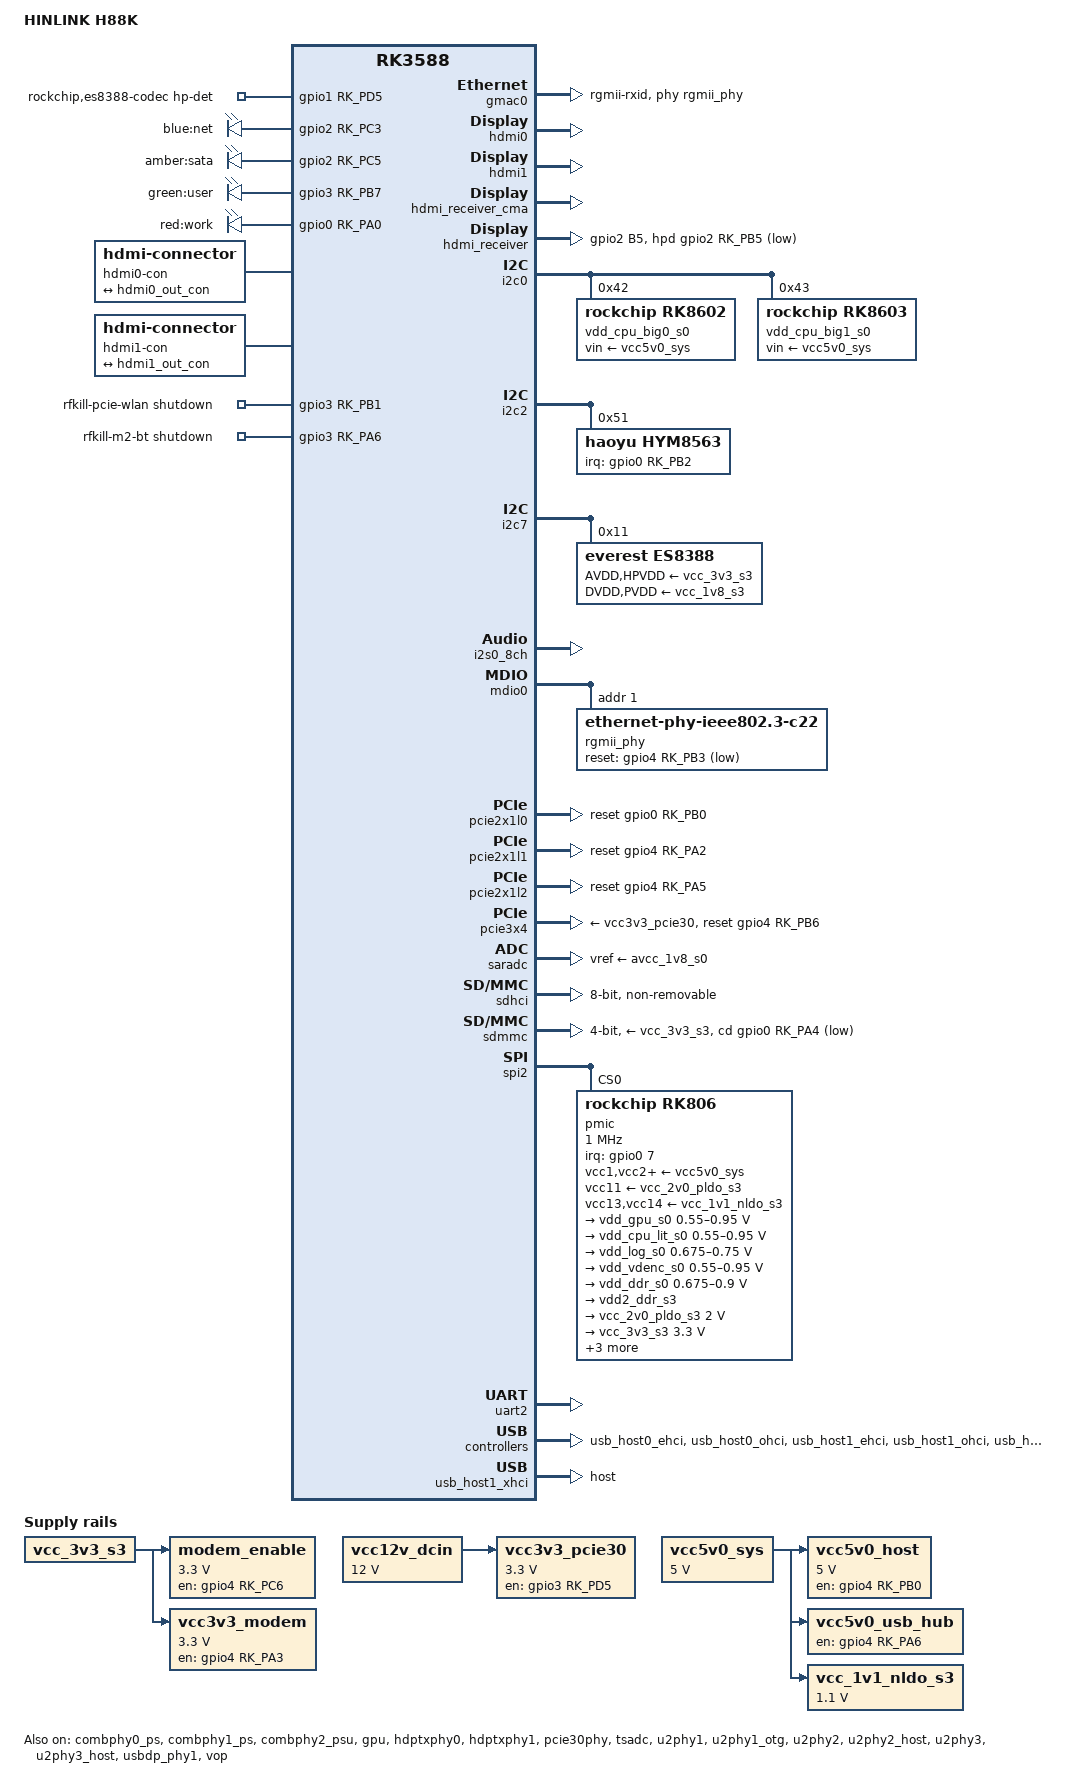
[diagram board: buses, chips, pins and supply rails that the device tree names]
// SPDX-License-Identifier: (GPL-2.0+ OR MIT)

/dts-v1/;

#include <dt-bindings/gpio/gpio.h>
#include <dt-bindings/leds/common.h>
#include <dt-bindings/soc/rockchip,vop2.h>
#include "rk3588.dtsi"

/ {
	model = "HINLINK H88K";
	compatible = "hinlink,h88k", "rockchip,rk3588";

	aliases {
		ethernet0 = &gmac0;
		mmc0 = &sdhci;
		mmc1 = &sdmmc;
		mmc2 = &sdio;
	};

	analog-sound {
		compatible = "simple-audio-card";
		label = "rockchip,es8388-codec";
		pinctrl-names = "default";
		pinctrl-0 = <&hp_detect>;
		simple-audio-card,name = "Analog";
		simple-audio-card,format = "i2s";
		simple-audio-card,mclk-fs = <256>;
		simple-audio-card,hp-det-gpios = <&gpio1 RK_PD5 GPIO_ACTIVE_HIGH>;
		simple-audio-card,bitclock-master = <&daicpu>;
		simple-audio-card,frame-master = <&daicpu>;

		simple-audio-card,widgets =
			"Microphone", "Onboard Microphone",
			"Microphone", "Microphone Jack",
			"Speaker", "Speaker",
			"Headphone", "Headphones";

		simple-audio-card,routing =
			"Headphones", "LOUT1",
			"Headphones", "ROUT1",
			"Speaker", "LOUT2",
			"Speaker", "ROUT2",

			/* single ended signal to LINPUT1 */
			"LINPUT1", "Microphone Jack",
			"RINPUT1", "Microphone Jack",
			/* differential signal */
			"LINPUT2", "Onboard Microphone",
			"RINPUT2", "Onboard Microphone";

		daicpu: simple-audio-card,cpu {
			sound-dai = <&i2s0_8ch>;
			system-clock-frequency = <12288000>;
		};

		daicodec: simple-audio-card,codec {
			sound-dai = <&es8388>;
			system-clock-frequency = <12288000>;
		};
	};

	chosen {
		stdout-path = "serial2:1500000n8";
	};

	leds {
		compatible = "gpio-leds";
		pinctrl-names = "default";
		pinctrl-0 = <&led_net_en>, <&led_sata_en>,
			    <&led_user_en>, <&led_work_en>;

		net {
			label = "blue:net";
			gpios = <&gpio2 RK_PC3 GPIO_ACTIVE_HIGH>;
		};

		sata {
			label = "amber:sata";
			gpios = <&gpio2 RK_PC5 GPIO_ACTIVE_HIGH>;
		};

		user {
			label = "green:user";
			gpios = <&gpio3 RK_PB7 GPIO_ACTIVE_HIGH>;
		};

		work {
			label = "red:work";
			gpios = <&gpio0 RK_PA0 GPIO_ACTIVE_HIGH>;
			linux,default-trigger = "heartbeat";
		};
	};

	hdmi0-con {
		compatible = "hdmi-connector";
		type = "a";

		port {
			hdmi0_con_in: endpoint {
				remote-endpoint = <&hdmi0_out_con>;
			};
		};
	};

	hdmi1-con {
		compatible = "hdmi-connector";
		type = "a";

		port {
			hdmi1_con_in: endpoint {
				remote-endpoint = <&hdmi1_out_con>;
			};
		};
	};

	rfkilli-wifi {
		compatible = "rfkill-gpio";
		label = "rfkill-pcie-wlan";
		radio-type = "wlan";
		shutdown-gpios = <&gpio3 RK_PB1 GPIO_ACTIVE_HIGH>;
	};

	rfkill-bt {
		compatible = "rfkill-gpio";
		label = "rfkill-m2-bt";
		radio-type = "bluetooth";
		shutdown-gpios = <&gpio3 RK_PA6 GPIO_ACTIVE_HIGH>;
	};

	vcc12v_dcin: vcc12v-dcin {
		compatible = "regulator-fixed";
		regulator-always-on;
		regulator-boot-on;
		regulator-min-microvolt = <12000000>;
		regulator-max-microvolt = <12000000>;
		regulator-name = "vcc12v_dcin";
	};

	vcc3v3_pcie30: vcc3v3-pcie30-regulator {
		compatible = "regulator-fixed";
		enable-active-high;
		gpios = <&gpio3 RK_PD5 GPIO_ACTIVE_HIGH>;
		regulator-name = "vcc3v3_pcie30";
		regulator-min-microvolt = <3300000>;
		regulator-max-microvolt = <3300000>;
		startup-delay-us = <5000>;
		vin-supply = <&vcc12v_dcin>;
	};

	/* it's modem reset pin */
	modem_enable: modem-enable {
		compatible = "regulator-fixed";
		enable-active-high;
		regulator-always-on;
		regulator-boot-on;
		gpios = <&gpio4 RK_PC6 GPIO_ACTIVE_HIGH>;
		regulator-min-microvolt = <3300000>;
		regulator-max-microvolt = <3300000>;
		regulator-name = "modem-enable";
		vin-supply = <&vcc_3v3_s3>;
		startup-delay-us = <500000>;
		pinctrl-names = "default";
		pintctrl-0 = <&modem_reset_en>;
	};

	vcc3v3_modem: vcc3v3-modem {
		compatible = "regulator-fixed";
		enable-active-high;
		regulator-always-on;
		regulator-boot-on;
		gpios = <&gpio4 RK_PA3 GPIO_ACTIVE_HIGH>;
		regulator-min-microvolt = <3300000>;
		regulator-max-microvolt = <3300000>;
		regulator-name = "vcc3v3_modem";
		pinctrl-names = "default";
		pintctrl-0 = <&modem_power_en>;
		vin-supply = <&vcc_3v3_s3>;
	};

	vcc5v0_host: vcc5v0-host-regulator {
		compatible = "regulator-fixed";
		regulator-name = "vcc5v0_host";
		regulator-boot-on;
		regulator-always-on;
		regulator-min-microvolt = <5000000>;
		regulator-max-microvolt = <5000000>;
		enable-active-high;
		gpio = <&gpio4 RK_PB0 GPIO_ACTIVE_HIGH>;
		pinctrl-names = "default";
		pinctrl-0 = <&vcc5v0_host_en>;
		vin-supply = <&vcc5v0_sys>;
	};

	vcc5v0_usb_hub: vcc5v0-usb-hub {
		compatible = "regulator-fixed";
		enable-active-high;
		gpio = <&gpio4 RK_PA6 GPIO_ACTIVE_HIGH>;
		pinctrl-names = "default";
		pinctrl-0 = <&vcc5v0_usb_hub_en>;
		regulator-name = "vcc5v0_usb_hub";
		regulator-always-on;
		vin-supply = <&vcc5v0_sys>;
	};

	vcc5v0_sys: vcc5v0-sys-regulator {
		compatible = "regulator-fixed";
		regulator-name = "vcc5v0_sys";
		regulator-always-on;
		regulator-boot-on;
		regulator-min-microvolt = <5000000>;
		regulator-max-microvolt = <5000000>;
	};

	vcc_1v1_nldo_s3: vcc-1v1-nldo-s3-regulator {
		compatible = "regulator-fixed";
		regulator-name = "vcc_1v1_nldo_s3";
		regulator-always-on;
		regulator-boot-on;
		regulator-min-microvolt = <1100000>;
		regulator-max-microvolt = <1100000>;
		vin-supply = <&vcc5v0_sys>;
	};
};

&combphy0_ps {
	status = "okay";
};

&combphy1_ps {
	status = "okay";
};

&combphy2_psu {
	status = "okay";
};

&cpu_b0 {
	cpu-supply = <&vdd_cpu_big0_s0>;
};

&cpu_b1 {
	cpu-supply = <&vdd_cpu_big0_s0>;
};

&cpu_b2 {
	cpu-supply = <&vdd_cpu_big1_s0>;
};

&cpu_b3 {
	cpu-supply = <&vdd_cpu_big1_s0>;
};

&cpu_l0 {
	cpu-supply = <&vdd_cpu_lit_s0>;
};

&cpu_l1 {
	cpu-supply = <&vdd_cpu_lit_s0>;
};

&cpu_l2 {
	cpu-supply = <&vdd_cpu_lit_s0>;
};

&cpu_l3 {
	cpu-supply = <&vdd_cpu_lit_s0>;
};

&gmac0 {
	clock_in_out = "output";
	phy-handle = <&rgmii_phy>;
	phy-mode = "rgmii-rxid";
	pinctrl-0 = <&gmac0_miim
		     &gmac0_tx_bus2
		     &gmac0_rx_bus2
		     &gmac0_rgmii_clk
		     &gmac0_rgmii_bus>;
	pinctrl-names = "default";
	rx_delay = <0x00>;
	tx_delay = <0x43>;
	status = "okay";
};

&gpu {
	mali-supply = <&vdd_gpu_s0>;
	status = "okay";
};

&hdmi0 {
	status = "okay";
};


&hdptxphy0 {
	status = "okay";
};

&hdmi0_in {
	hdmi0_in_vp0: endpoint {
		remote-endpoint = <&vp0_out_hdmi0>;
	};
};

&hdmi0_out {
	hdmi0_out_con: endpoint {
		remote-endpoint = <&hdmi0_con_in>;
	};
};

&hdmi1 {
	status = "okay";
};

&hdmi1_in {
	hdmi1_in_vp1: endpoint {
		remote-endpoint = <&vp1_out_hdmi1>;
	};
};

&hdmi1_out {
	hdmi1_out_con: endpoint {
		remote-endpoint = <&hdmi1_con_in>;
	};
};

&hdptxphy1 {
	status = "okay";
};

&hdmi_receiver_cma {
	status = "okay";
};

&hdmi_receiver {
	status = "okay";
	hpd-gpios = <&gpio2 RK_PB5 GPIO_ACTIVE_LOW>;
	pinctrl-0 = <&hdmim1_rx_cec &hdmim1_rx_hpdin &hdmim1_rx_scl &hdmim1_rx_sda &hdmirx_hpd>;
	pinctrl-names = "default";
	memory-region = <&hdmi_receiver_cma>;
};

&i2c0 {
	pinctrl-names = "default";
	pinctrl-0 = <&i2c0m2_xfer>;
	status = "okay";

	vdd_cpu_big0_s0: regulator@42 {
		compatible = "rockchip,rk8602";
		reg = <0x42>;
		fcs,suspend-voltage-selector = <1>;
		regulator-name = "vdd_cpu_big0_s0";
		regulator-always-on;
		regulator-boot-on;
		regulator-min-microvolt = <550000>;
		regulator-max-microvolt = <1050000>;
		regulator-ramp-delay = <2300>;
		vin-supply = <&vcc5v0_sys>;

		regulator-state-mem {
			regulator-off-in-suspend;
		};
	};

	vdd_cpu_big1_s0: regulator@43 {
		compatible = "rockchip,rk8603", "rockchip,rk8602";
		reg = <0x43>;
		fcs,suspend-voltage-selector = <1>;
		regulator-name = "vdd_cpu_big1_s0";
		regulator-always-on;
		regulator-boot-on;
		regulator-min-microvolt = <550000>;
		regulator-max-microvolt = <1050000>;
		regulator-ramp-delay = <2300>;
		vin-supply = <&vcc5v0_sys>;

		regulator-state-mem {
			regulator-off-in-suspend;
		};
	};
};

&i2c2 {
	status = "okay";

	hym8563: rtc@51 {
		compatible = "haoyu,hym8563";
		reg = <0x51>;
		#clock-cells = <0>;
		clock-output-names = "hym8563";
		pinctrl-names = "default";
		pinctrl-0 = <&hym8563_int>;
		interrupt-parent = <&gpio0>;
		interrupts = <RK_PB2 IRQ_TYPE_LEVEL_LOW>;
		wakeup-source;
	};
};

&i2c7 {
	status = "okay";

	es8388: audio-codec@11 {
		compatible = "everest,es8388";
		reg = <0x11>;
		assigned-clocks = <&cru I2S0_8CH_MCLKOUT>;
		assigned-clock-rates = <12288000>;
		AVDD-supply = <&vcc_3v3_s3>;
		clocks = <&cru I2S0_8CH_MCLKOUT>;
		DVDD-supply = <&vcc_1v8_s3>;
		HPVDD-supply = <&vcc_3v3_s3>;
		PVDD-supply = <&vcc_1v8_s3>;
		#sound-dai-cells = <0>;
	};
};

&i2s0_8ch {
	pinctrl-names = "default";
	pinctrl-0 = <&i2s0_lrck
		     &i2s0_mclk
		     &i2s0_sclk
		     &i2s0_sdi0
		     &i2s0_sdo0>;
	status = "okay";
};

&mdio0 {
	rgmii_phy: ethernet-phy@1 {
		/* RTL8211F */
		compatible = "ethernet-phy-ieee802.3-c22";
		reg = <0x1>;
		pinctrl-names = "default";
		pinctrl-0 = <&rtl8211f_rst>;
		reset-assert-us = <20000>;
		reset-deassert-us = <100000>;
		reset-gpios = <&gpio4 RK_PB3 GPIO_ACTIVE_LOW>;
	};
};

&pcie2x1l0 {
	reset-gpios = <&gpio0 RK_PB0 GPIO_ACTIVE_HIGH>;
	status = "okay";
};

&pcie2x1l1 {
	reset-gpios = <&gpio4 RK_PA2 GPIO_ACTIVE_HIGH>;
	status = "okay";
};

&pcie2x1l2 {
	reset-gpios = <&gpio4 RK_PA5 GPIO_ACTIVE_HIGH>;
	status = "okay";
};

&pcie30phy {
	status = "okay";
};

&pcie3x4 {
	pinctrl-names = "default";
	reset-gpios = <&gpio4 RK_PB6 GPIO_ACTIVE_HIGH>;
	vpcie3v3-supply = <&vcc3v3_pcie30>;
	status = "okay";
};

&pinctrl {
	hdmirx {
		hdmirx_hpd: hdmirx-hpd {
			rockchip,pins = <2 RK_PB5 RK_FUNC_GPIO &pcfg_pull_none>;
		};
	};

	hym8563 {
		hym8563_int: hym8563-int {
			rockchip,pins = <0 RK_PB2 RK_FUNC_GPIO &pcfg_pull_none>;
		};
	};

	leds {
		led_net_en: led_net_en {
			rockchip,pins = <2 RK_PC3 RK_FUNC_GPIO &pcfg_pull_none>;
		};

		led_sata_en: led_sata_en {
			rockchip,pins = <2 RK_PC5 RK_FUNC_GPIO &pcfg_pull_none>;
		};

		led_user_en: led_user_en {
			rockchip,pins = <3 RK_PB7 RK_FUNC_GPIO &pcfg_pull_none>;
		};

		led_work_en: led_work_en {
			rockchip,pins = <0 RK_PA0 RK_FUNC_GPIO &pcfg_pull_none>;
		};
	};

	modem {
		modem_power_en: modem-power-en {
			rockchip,pins = <4 RK_PA3 RK_FUNC_GPIO &pcfg_pull_none>;
		};

		modem_reset_en: modem-reset-en {
			rockchip,pins = <4 RK_PC6 RK_FUNC_GPIO &pcfg_pull_none>;
		};
	};

	rtl8211f {
		rtl8211f_rst: rtl8211f-rst {
			rockchip,pins = <4 RK_PB3 RK_FUNC_GPIO &pcfg_pull_none>;
		};
	};

	sound {
		hp_detect: hp-detect {
			rockchip,pins = <1 RK_PD5 RK_FUNC_GPIO &pcfg_pull_none>;
		};
	};

	usb {
		vcc5v0_host_en: vcc5v0-host-en {
			rockchip,pins = <4 RK_PB0 RK_FUNC_GPIO &pcfg_pull_none>;
		};

		vcc5v0_usb_hub_en: vcc5v0_usb_hub_en {
			rockchip,pins = <4 RK_PA6 RK_FUNC_GPIO &pcfg_pull_none>;
		};
	};
};

&saradc {
	vref-supply = <&avcc_1v8_s0>;
	status = "okay";
};

&sdhci {
	bus-width = <8>;
	max-frequency = <200000000>;
	mmc-hs400-1_8v;
	mmc-hs400-enhanced-strobe;
	no-sdio;
	no-sd;
	non-removable;
	status = "okay";
};

&sdmmc {
	max-frequency = <150000000>;
	no-sdio;
	no-mmc;
	bus-width = <4>;
	cap-mmc-highspeed;
	cap-sd-highspeed;
	disable-wp;
	sd-uhs-sdr104;
	cd-gpios = <&gpio0 RK_PA4 GPIO_ACTIVE_LOW>;
	vmmc-supply = <&vcc_3v3_s3>;
	vqmmc-supply = <&vccio_sd_s0>;
	status = "okay";
};

&spi2 {
	status = "okay";
	assigned-clocks = <&cru CLK_SPI2>;
	assigned-clock-rates = <200000000>;
	pinctrl-names = "default";
	pinctrl-0 = <&spi2m2_cs0 &spi2m2_pins>;
	num-cs = <1>;

	pmic@0 {
		compatible = "rockchip,rk806";
		spi-max-frequency = <1000000>;
		reg = <0x0>;

		interrupt-parent = <&gpio0>;
		interrupts = <7 IRQ_TYPE_LEVEL_LOW>;

		pinctrl-names = "default";
		pinctrl-0 = <&pmic_pins>, <&rk806_dvs1_null>,
			    <&rk806_dvs2_null>, <&rk806_dvs3_null>;

		system-power-controller;

		vcc1-supply = <&vcc5v0_sys>;
		vcc2-supply = <&vcc5v0_sys>;
		vcc3-supply = <&vcc5v0_sys>;
		vcc4-supply = <&vcc5v0_sys>;
		vcc5-supply = <&vcc5v0_sys>;
		vcc6-supply = <&vcc5v0_sys>;
		vcc7-supply = <&vcc5v0_sys>;
		vcc8-supply = <&vcc5v0_sys>;
		vcc9-supply = <&vcc5v0_sys>;
		vcc10-supply = <&vcc5v0_sys>;
		vcc11-supply = <&vcc_2v0_pldo_s3>;
		vcc12-supply = <&vcc5v0_sys>;
		vcc13-supply = <&vcc_1v1_nldo_s3>;
		vcc14-supply = <&vcc_1v1_nldo_s3>;
		vcca-supply = <&vcc5v0_sys>;

		gpio-controller;
		#gpio-cells = <2>;

		rk806_dvs1_null: dvs1-null-pins {
			pins = "gpio_pwrctrl1";
			function = "pin_fun0";
		};

		rk806_dvs2_null: dvs2-null-pins {
			pins = "gpio_pwrctrl2";
			function = "pin_fun0";
		};

		rk806_dvs3_null: dvs3-null-pins {
			pins = "gpio_pwrctrl3";
			function = "pin_fun0";
		};

		regulators {
			vdd_gpu_s0: vdd_gpu_mem_s0: dcdc-reg1 {
				regulator-always-on;
				regulator-boot-on;
				regulator-min-microvolt = <550000>;
				regulator-max-microvolt = <950000>;
				regulator-ramp-delay = <12500>;
				regulator-name = "vdd_gpu_s0";
				regulator-enable-ramp-delay = <400>;

				regulator-state-mem {
					regulator-off-in-suspend;
				};
			};

			vdd_cpu_lit_s0: vdd_cpu_lit_mem_s0: dcdc-reg2 {
				regulator-always-on;
				regulator-boot-on;
				regulator-min-microvolt = <550000>;
				regulator-max-microvolt = <950000>;
				regulator-ramp-delay = <12500>;
				regulator-name = "vdd_cpu_lit_s0";

				regulator-state-mem {
					regulator-off-in-suspend;
				};
			};

			vdd_log_s0: dcdc-reg3 {
				regulator-always-on;
				regulator-boot-on;
				regulator-min-microvolt = <675000>;
				regulator-max-microvolt = <750000>;
				regulator-ramp-delay = <12500>;
				regulator-name = "vdd_log_s0";

				regulator-state-mem {
					regulator-off-in-suspend;
					regulator-suspend-microvolt = <750000>;
				};
			};

			vdd_vdenc_s0: vdd_vdenc_mem_s0: dcdc-reg4 {
				regulator-always-on;
				regulator-boot-on;
				regulator-min-microvolt = <550000>;
				regulator-max-microvolt = <950000>;
				regulator-ramp-delay = <12500>;
				regulator-name = "vdd_vdenc_s0";

				regulator-state-mem {
					regulator-off-in-suspend;
				};
			};

			vdd_ddr_s0: dcdc-reg5 {
				regulator-always-on;
				regulator-boot-on;
				regulator-min-microvolt = <675000>;
				regulator-max-microvolt = <900000>;
				regulator-ramp-delay = <12500>;
				regulator-name = "vdd_ddr_s0";

				regulator-state-mem {
					regulator-off-in-suspend;
					regulator-suspend-microvolt = <850000>;
				};
			};

			vdd2_ddr_s3: dcdc-reg6 {
				regulator-always-on;
				regulator-boot-on;
				regulator-name = "vdd2_ddr_s3";

				regulator-state-mem {
					regulator-on-in-suspend;
				};
			};

			vcc_2v0_pldo_s3: dcdc-reg7 {
				regulator-always-on;
				regulator-boot-on;
				regulator-min-microvolt = <2000000>;
				regulator-max-microvolt = <2000000>;
				regulator-ramp-delay = <12500>;
				regulator-name = "vdd_2v0_pldo_s3";

				regulator-state-mem {
					regulator-on-in-suspend;
					regulator-suspend-microvolt = <2000000>;
				};
			};

			vcc_3v3_s3: dcdc-reg8 {
				regulator-always-on;
				regulator-boot-on;
				regulator-min-microvolt = <3300000>;
				regulator-max-microvolt = <3300000>;
				regulator-name = "vcc_3v3_s3";

				regulator-state-mem {
					regulator-on-in-suspend;
					regulator-suspend-microvolt = <3300000>;
				};
			};

			vddq_ddr_s0: dcdc-reg9 {
				regulator-always-on;
				regulator-boot-on;
				regulator-name = "vddq_ddr_s0";

				regulator-state-mem {
					regulator-off-in-suspend;
				};
			};

			vcc_1v8_s3: dcdc-reg10 {
				regulator-always-on;
				regulator-boot-on;
				regulator-min-microvolt = <1800000>;
				regulator-max-microvolt = <1800000>;
				regulator-name = "vcc_1v8_s3";

				regulator-state-mem {
					regulator-on-in-suspend;
					regulator-suspend-microvolt = <1800000>;
				};
			};

			avcc_1v8_s0: pldo-reg1 {
				regulator-always-on;
				regulator-boot-on;
				regulator-min-microvolt = <1800000>;
				regulator-max-microvolt = <1800000>;
				regulator-name = "avcc_1v8_s0";

				regulator-state-mem {
					regulator-off-in-suspend;
				};
			};

			vcc_1v8_s0: pldo-reg2 {
				regulator-always-on;
				regulator-boot-on;
				regulator-min-microvolt = <1800000>;
				regulator-max-microvolt = <1800000>;
				regulator-name = "vcc_1v8_s0";

				regulator-state-mem {
					regulator-off-in-suspend;
					regulator-suspend-microvolt = <1800000>;
				};
			};

			avdd_1v2_s0: pldo-reg3 {
				regulator-always-on;
				regulator-boot-on;
				regulator-min-microvolt = <1200000>;
				regulator-max-microvolt = <1200000>;
				regulator-name = "avdd_1v2_s0";

				regulator-state-mem {
					regulator-off-in-suspend;
				};
			};

			vcc_3v3_s0: pldo-reg4 {
				regulator-always-on;
				regulator-boot-on;
				regulator-min-microvolt = <3300000>;
				regulator-max-microvolt = <3300000>;
				regulator-ramp-delay = <12500>;
				regulator-name = "vcc_3v3_s0";

				regulator-state-mem {
					regulator-off-in-suspend;
				};
			};

			vccio_sd_s0: pldo-reg5 {
				regulator-always-on;
				regulator-boot-on;
				regulator-min-microvolt = <1800000>;
				regulator-max-microvolt = <3300000>;
				regulator-ramp-delay = <12500>;
				regulator-name = "vccio_sd_s0";

				regulator-state-mem {
					regulator-off-in-suspend;
				};
			};

			pldo6_s3: pldo-reg6 {
				regulator-always-on;
				regulator-boot-on;
				regulator-min-microvolt = <1800000>;
				regulator-max-microvolt = <1800000>;
				regulator-name = "pldo6_s3";

				regulator-state-mem {
					regulator-on-in-suspend;
					regulator-suspend-microvolt = <1800000>;
				};
			};

			vdd_0v75_s3: nldo-reg1 {
				regulator-always-on;
				regulator-boot-on;
				regulator-min-microvolt = <750000>;
				regulator-max-microvolt = <750000>;
				regulator-name = "vdd_0v75_s3";

				regulator-state-mem {
					regulator-on-in-suspend;
					regulator-suspend-microvolt = <750000>;
				};
			};

			vdd_ddr_pll_s0: nldo-reg2 {
				regulator-always-on;
				regulator-boot-on;
				regulator-min-microvolt = <850000>;
				regulator-max-microvolt = <850000>;
				regulator-name = "vdd_ddr_pll_s0";

				regulator-state-mem {
					regulator-off-in-suspend;
					regulator-suspend-microvolt = <850000>;
				};
			};

			avdd_0v75_s0: nldo-reg3 {
				regulator-always-on;
				regulator-boot-on;
				regulator-min-microvolt = <750000>;
				regulator-max-microvolt = <750000>;
				regulator-name = "avdd_0v75_s0";

				regulator-state-mem {
					regulator-off-in-suspend;
				};
			};

			vdd_0v85_s0: nldo-reg4 {
				regulator-always-on;
				regulator-boot-on;
				regulator-min-microvolt = <850000>;
				regulator-max-microvolt = <850000>;
				regulator-name = "vdd_0v85_s0";

				regulator-state-mem {
					regulator-off-in-suspend;
				};
			};

			vdd_0v75_s0: nldo-reg5 {
				regulator-always-on;
				regulator-boot-on;
				regulator-min-microvolt = <750000>;
				regulator-max-microvolt = <750000>;
				regulator-name = "vdd_0v75_s0";

				regulator-state-mem {
					regulator-off-in-suspend;
				};
			};
		};
	};
};

&tsadc {
	status = "okay";
};

&uart2 {
	pinctrl-names = "default";
	pinctrl-0 = <&uart2m0_xfer>;
	status = "okay";
};

&u2phy1 {
	status = "okay";
};

&u2phy1_otg {
	phy-supply = <&vcc5v0_host>;
	status = "okay";
};

&u2phy2 {
	status = "okay";
};

&u2phy2_host {
	/* connected to USB hub, which is powered by vcc5v0_sys */
	phy-supply = <&vcc5v0_sys>;
	status = "okay";
};

&u2phy3 {
	status = "okay";
};

&u2phy3_host {
	phy-supply = <&vcc5v0_host>;
	status = "okay";
};

&usbdp_phy1 {
	status = "okay";
};

&usb_host0_ehci {
	status = "okay";
};

&usb_host0_ohci {
	status = "okay";
};

&usb_host1_ehci {
	status = "okay";
};

&usb_host1_ohci {
	status = "okay";
};

&usb_host1_xhci {
	dr_mode = "host";
	status = "okay";
};

&usb_host2_xhci {
	status = "okay";
};

&vop {
	status = "okay";
};

&vop_mmu {
	status = "okay";
};

&vp0 {
	vp0_out_hdmi0: endpoint@ROCKCHIP_VOP2_EP_HDMI0 {
		reg = <ROCKCHIP_VOP2_EP_HDMI0>;
		remote-endpoint = <&hdmi0_in_vp0>;
	};
};

&vp1 {
	vp1_out_hdmi1: endpoint@ROCKCHIP_VOP2_EP_HDMI1 {
		reg = <ROCKCHIP_VOP2_EP_HDMI1>;
		remote-endpoint = <&hdmi1_in_vp1>;
	};
};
